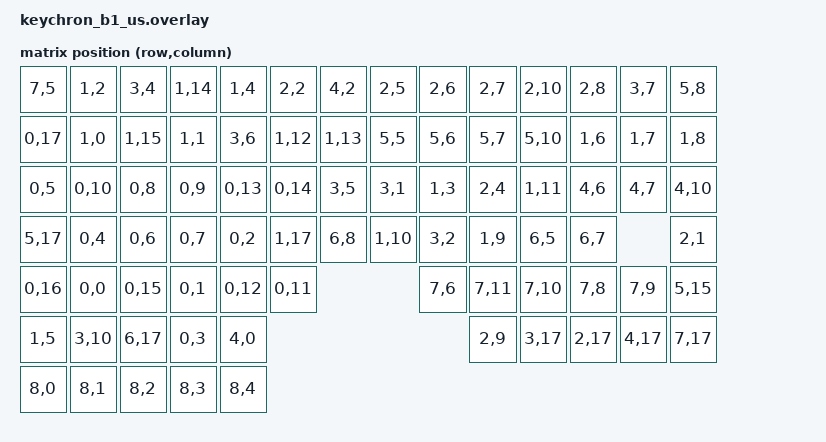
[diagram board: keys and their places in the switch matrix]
/*
 * Copyright (c) 2021 Nick Winans
 *
 * SPDX-License-Identifier: MIT
 */

#include <dt-bindings/zmk/matrix_transform.h>

/ {

    /*
     * B1 Pro ANSI hardware revision used by USB PID 0x071A
     * (Keychron Launcher device profile 875824922).
     *
     * The GPIO scan configuration remains the Keychron B1 Pro configuration;
     * this transform maps the 0x071A matrix coordinates back to the normal
     * physical ANSI key order expected by the stock keymap.
     */
    default_transform: keymap_transform_0 {
        compatible = "zmk,matrix-transform";
        columns = <18>;
        rows = <8>;
        map = <
            // esc         // f1        // f2        // f3         // f4        // f5        // f6        // f7        // f8        // f9        // f10       // f11       // f12       // del
            RC(7,5)       RC(1,2)      RC(3,4)      RC(1,14)      RC(1,4)      RC(2,2)      RC(4,2)      RC(2,5)      RC(2,6)      RC(2,7)      RC(2,10)     RC(2,8)      RC(3,7)      RC(5,8)
            // grave       // 1         // 2         // 3          // 4         // 5         // 6         // 7         // 8         // 9         // 0         // -         // =         // backspace
            RC(0,17)      RC(1,0)      RC(1,15)     RC(1,1)       RC(3,6)      RC(1,12)     RC(1,13)     RC(5,5)      RC(5,6)      RC(5,7)      RC(5,10)     RC(1,6)      RC(1,7)      RC(1,8)
            // tab         // q         // w         // e          // r         // t         // y         // u         // i         // o         // p         // [         // ]         // backslash
            RC(0,5)       RC(0,10)     RC(0,8)      RC(0,9)       RC(0,13)     RC(0,14)     RC(3,5)      RC(3,1)      RC(1,3)      RC(2,4)      RC(1,11)     RC(4,6)      RC(4,7)      RC(4,10)
            // caps        // a         // s         // d          // f         // g         // h         // j         // k         // l         // ;         // '                      // enter
            RC(5,17)      RC(0,4)      RC(0,6)      RC(0,7)       RC(0,2)      RC(1,17)     RC(6,8)      RC(1,10)     RC(3,2)      RC(1,9)      RC(6,5)      RC(6,7)                  RC(2,1)
            // lshift                    // z         // x          // c         // v         // b         // n         // m         // ,         // .         // /                      // rshift
            RC(0,16)                    RC(0,0)      RC(0,15)      RC(0,1)      RC(0,12)     RC(0,11)     RC(7,6)      RC(7,11)     RC(7,10)     RC(7,8)      RC(7,9)                  RC(5,15)
            // lctrl       // win l      // alt l                                             // space                     // alt r      // fn        // left       // up        // down       // right
            RC(1,5)       RC(3,10)      RC(6,17)                                            RC(0,3)                     RC(4,0)      RC(2,9)      RC(3,17)      RC(2,17)     RC(4,17)     RC(7,17)
            // m/w         // bt         // 2.4g       // charging   // charge done
            RC(8,0)       RC(8,1)       RC(8,2)       RC(8,3)       RC(8,4)
        >;
    };
};
